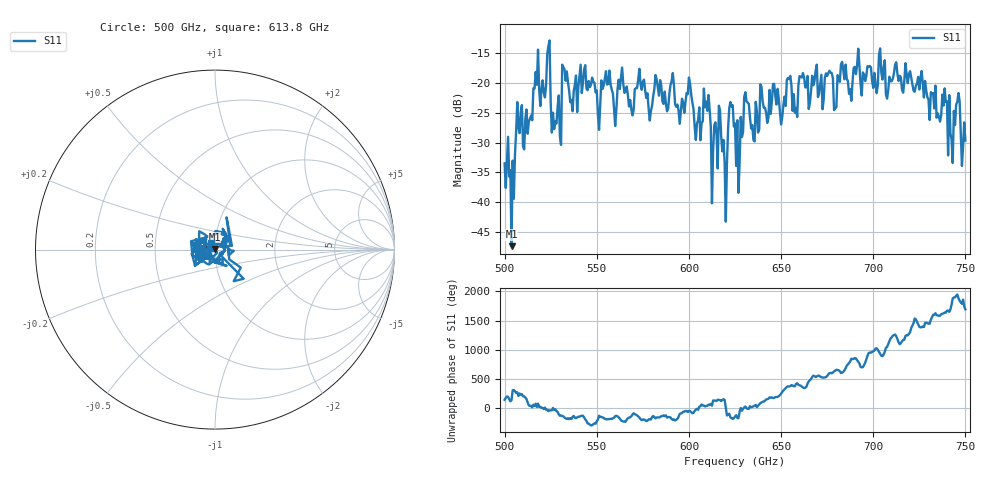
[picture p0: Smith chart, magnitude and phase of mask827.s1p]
!Created with skrf (http://scikit-rf.org).
# GHz S MA R 50.0
!freq magS11 angS11
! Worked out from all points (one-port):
!   401 points, 500 GHz to 750 GHz, reference 50 ohm
!   lowest |S11| = -47.4 dB at 503.8 GHz (marker M1), VSWR 1.01, Z = 49.7 + j0.33 ohm
!   |S11| at or under -10 dB: start of sweep to end of sweep
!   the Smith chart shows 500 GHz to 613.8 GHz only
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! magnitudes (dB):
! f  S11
! 500 GHz  -33.5
! 503.8 GHz  -47.4
! 507.5 GHz  -27.5
! 513.8 GHz  -26.0
! 516.9 GHz  -18.1
! 523.8 GHz  -13.8
! 526.9 GHz  -27.7
! 531.2 GHz  -16.9
! 532.5 GHz  -17.7
! 550.6 GHz  -25.3
! 562.5 GHz  -21.0
! 593.8 GHz  -23.6
! 609.4 GHz  -23.1
! 613.1 GHz  -31.4
! 617.5 GHz  -29.0
! 619.4 GHz  -33.4
! 622.5 GHz  -23.2
! 625 GHz  -26.8
! 626.2 GHz  -26.2
! 631.2 GHz  -23.1
! 634.4 GHz  -27.1
! 640 GHz  -23.1
! 656.2 GHz  -24.7
! 687.5 GHz  -21.0
! 718.8 GHz  -20.0
! 741.9 GHz  -28.4
! 745.6 GHz  -23.1
! 750 GHz  -29.6
